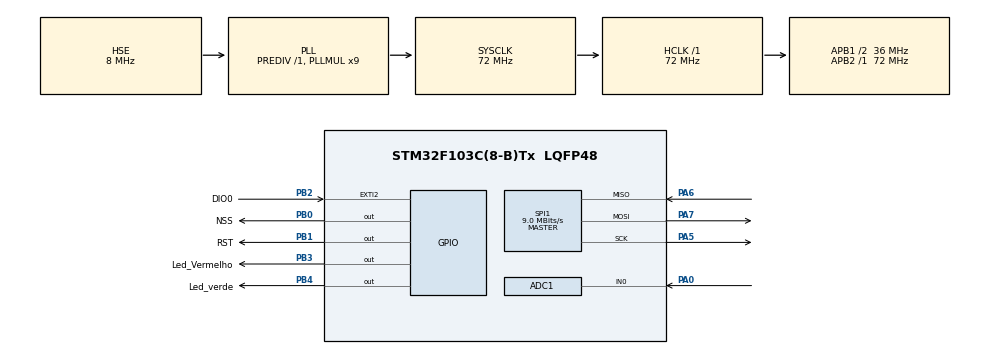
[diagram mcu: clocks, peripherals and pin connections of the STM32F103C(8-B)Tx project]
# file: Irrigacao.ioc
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ADC1.Channel-1\#ChannelRegularConversion=ADC_CHANNEL_0
ADC1.NbrOfConversionFlag=1
ADC1.Rank-1\#ChannelRegularConversion=1
ADC1.SamplingTime-1\#ChannelRegularConversion=ADC_SAMPLETIME_7CYCLES_5
ADC1.master=1
Mcu.Family=STM32F1
Mcu.Name=STM32F103C(8-B)Tx
Mcu.Package=LQFP48
NVIC.PriorityGroup=NVIC_PRIORITYGROUP_4
PA0-WKUP.Signal=ADCx_IN0
PA13.Mode=Serial_Wire
PA13.Signal=SYS_JTMS-SWDIO
PA14.Mode=Serial_Wire
PA14.Signal=SYS_JTCK-SWCLK
PA5.Mode=Full_Duplex_Master
PA5.Signal=SPI1_SCK
PA6.Mode=Full_Duplex_Master
PA6.Signal=SPI1_MISO
PA7.Mode=Full_Duplex_Master
PA7.Signal=SPI1_MOSI
PB0.GPIO_Label=NSS
PB0.PinState=GPIO_PIN_SET
PB0.Signal=GPIO_Output
PB1.GPIO_Label=RST
PB1.PinState=GPIO_PIN_SET
PB1.Signal=GPIO_Output
PB2.GPIO_Label=DIO0
PB2.Signal=GPXTI2
PB3.GPIO_Label=Led_Vermelho
PB3.PinState=GPIO_PIN_RESET
PB3.Signal=GPIO_Output
PB4.GPIO_Label=Led_verde
PB4.Signal=GPIO_Output
PB6.Signal=USART1_TX
PB7.Signal=USART1_RX
PC14-OSC32_IN.Mode=LSE-External-Oscillator
PC14-OSC32_IN.Signal=RCC_OSC32_IN
PC15-OSC32_OUT.Mode=LSE-External-Oscillator
PC15-OSC32_OUT.Signal=RCC_OSC32_OUT
PD0-OSC_IN.Mode=HSE-External-Oscillator
PD0-OSC_IN.Signal=RCC_OSC_IN
PD1-OSC_OUT.Mode=HSE-External-Oscillator
PD1-OSC_OUT.Signal=RCC_OSC_OUT
ProjectManager.HeapSize=0x200
ProjectManager.StackSize=0x400
ProjectManager.TargetToolchain=Makefile
RCC.ADCPresc=RCC_ADCPCLK2_DIV6
RCC.AHBFreq_Value=72000000
RCC.APB1CLKDivider=RCC_HCLK_DIV2
RCC.APB1Freq_Value=36000000
RCC.APB1TimFreq_Value=72000000
RCC.APB2Freq_Value=72000000
RCC.APB2TimFreq_Value=72000000
RCC.HCLKFreq_Value=72000000
RCC.PLLMUL=RCC_PLL_MUL9
RCC.PLLSourceVirtual=RCC_PLLSOURCE_HSE
RCC.RTCClockSelection=RCC_RTCCLKSOURCE_LSE
RCC.SYSCLKFreq_VALUE=72000000
RCC.SYSCLKSource=RCC_SYSCLKSOURCE_PLLCLK
RCC.USBFreq_Value=72000000
SH.ADCx_IN0.0=ADC1_IN0,IN0
SPI1.BaudRatePrescaler=SPI_BAUDRATEPRESCALER_8
SPI1.CalculateBaudRate=9.0 MBits/s
SPI1.Direction=SPI_DIRECTION_2LINES
SPI1.Mode=SPI_MODE_MASTER
SPI1.VirtualType=VM_MASTER
VP_RTC_VS_RTC_Activate.Mode=RTC_Enabled
VP_RTC_VS_RTC_Calendar.Mode=RTC_Calendar
board=custom

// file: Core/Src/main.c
/* USER CODE BEGIN Header */
/**
  ******************************************************************************
  * @file           : main.c
  * @brief          : Main program body
  ******************************************************************************
  * @attention
  *
  * Copyright (c) 2024 STMicroelectronics.
  * All rights reserved.
  *
  * This software is licensed under terms that can be found in the LICENSE file
  * in the root directory of this software component.
  * If no LICENSE file comes with this software, it is provided AS-IS.
  *
  ******************************************************************************
  */
/* USER CODE END Header */
#include "main.h"
#include "adc.h"
#include "rtc.h"
#include "spi.h"
#include "gpio.h"

/* USER CODE BEGIN Includes */

/* Inclusão de uma lib para utilizar LoRa */
#include "Lora.h"
/* Repositorio da Lib: https://github.com/SMotlaq/LoRa */

/* USER CODE END Includes */

/* USER CODE BEGIN PTD */
// Struct dos dados que serão enviados
typedef struct WriteLora{
  uint8_t id;
  uint8_t hum;
} myWriteLora;

/* USER CODE END PTD */

/* USER CODE BEGIN PV */

// Inicializando a lib
LoRa myLoRa;

uint16_t LoRa_stat;

//Identificação do sensor que vai ser passada
myWriteLora.id = 1;

//Variaveis que vão armazenar o tempo
unsigned long segundos, minutos;

// Variaveis que vão receber o tempo e a data do stm
RTC_DateTypeDef data;
RTC_TimeTypeDef tempo;
/* USER CODE END PV */

void SystemClock_Config(void);

int main(void)
{

  /* MCU Configuration--------------------------------------------------------*/

  /* Reset of all peripherals, Initializes the Flash interface and the Systick. */
  HAL_Init();

  /* Configure the system clock */
  SystemClock_Config();

  /* Initialize all configured peripherals */
  MX_GPIO_Init();
  MX_ADC1_Init();
  MX_SPI1_Init();
  MX_RTC_Init();
  /* USER CODE BEGIN 2 */

  //
  myLoRa = newLoRa();

  // Configuração dos pinos
  myLoRa.CS_port         = NSS_GPIO_Port;
  myLoRa.CS_pin          = NSS_Pin;
  myLoRa.reset_port      = RST_GPIO_Port;
  myLoRa.reset_pin       = RST_Pin;
  myLoRa.DIO0_port       = DIO0_GPIO_Port;
  myLoRa.DIO0_pin        = DIO0_Pin;
  myLoRa.hSPIx           = &hspi1;

  // Inicializo a função do adc
  HAL_ADC_Start(&hadc1);

  /* USER CODE END 2 */

  /* Infinite loop */
  while (1)
  {

    /* USER CODE BEGIN 3 */

    /* Função para receber os valores do RTC */
    HAL_RTC_GetDate(&hrtc, %data, RTC_FORMAT_BIN);
    HAL_RTC_GetTime(&hrtc, %tempo, RTC_FORMAT_BIN);

    minutos = tempo.minutes;
    segundos = tempo.seconds;
    marcador=0;

    // Lendo valores analógicos do sensor de humidade
    HAL_ADC_PoolForConversion(&hadc1, 100);
    myWriteLora.hum = HAL_ADC_GetValue(&hadc1);

    LoRa_stat = LoRa_init(&myLora);

    if(LoRa_stat==LORA_OK){
      if(marcador == 0||(marcador + 720) >= minutos){

        if(Lora_transmit(&myLora, (uint8_t*)&myWriteLora, 120, 100) == 1){
          HAL_GPIO_WritePin(GPIOB, LED_Verde_Pin, GPIO_PIN_SET);
          HAL_GPIO_WritePin(GPIOB, LED_Vermelho_Pin, GPIO_PIN_RESET);
        }else{
          HAL_GPIO_WritePin(GPIOB, LED_Verde_Pin, GPIO_PIN_RESET);
          HAL_GPIO_WritePin(GPIOB, LED_Vermelho_Pin, GPIO_PIN_SET);
        }
        marcador = minutos;
    }
    else{
      // Se der merda HAL_alguma coisa
      HAL_GPIO_WritePin(GPIOB, LED_Verde_Pin, GPIO_PIN_RESET);
      HAL_GPIO_WritePin(GPIOB, LED_Vermelho_Pin, GPIO_PIN_SET);
    }

  }
  /* USER CODE END 3 */
}

void SystemClock_Config(void)
{
  RCC_OscInitTypeDef RCC_OscInitStruct = {0};
  RCC_ClkInitTypeDef RCC_ClkInitStruct = {0};
  RCC_PeriphCLKInitTypeDef PeriphClkInit = {0};

  /** Initializes the RCC Oscillators according to the specified parameters
  * in the RCC_OscInitTypeDef structure.
  */
  RCC_OscInitStruct.OscillatorType = RCC_OSCILLATORTYPE_HSE|RCC_OSCILLATORTYPE_LSE;
  RCC_OscInitStruct.HSEState = RCC_HSE_ON;
  RCC_OscInitStruct.HSEPredivValue = RCC_HSE_PREDIV_DIV1;
  RCC_OscInitStruct.LSEState = RCC_LSE_ON;
  RCC_OscInitStruct.HSIState = RCC_HSI_ON;
  RCC_OscInitStruct.PLL.PLLState = RCC_PLL_ON;
  RCC_OscInitStruct.PLL.PLLSource = RCC_PLLSOURCE_HSE;
  RCC_OscInitStruct.PLL.PLLMUL = RCC_PLL_MUL9;
  if (HAL_RCC_OscConfig(&RCC_OscInitStruct) != HAL_OK)
  {
    Error_Handler();
  }

  /** Initializes the CPU, AHB and APB buses clocks
  */
  RCC_ClkInitStruct.ClockType = RCC_CLOCKTYPE_HCLK|RCC_CLOCKTYPE_SYSCLK
                              |RCC_CLOCKTYPE_PCLK1|RCC_CLOCKTYPE_PCLK2;
  RCC_ClkInitStruct.SYSCLKSource = RCC_SYSCLKSOURCE_PLLCLK;
  RCC_ClkInitStruct.AHBCLKDivider = RCC_SYSCLK_DIV1;
  RCC_ClkInitStruct.APB1CLKDivider = RCC_HCLK_DIV2;
  RCC_ClkInitStruct.APB2CLKDivider = RCC_HCLK_DIV1;

  if (HAL_RCC_ClockConfig(&RCC_ClkInitStruct, FLASH_LATENCY_2) != HAL_OK)
  {
    Error_Handler();
  }
  PeriphClkInit.PeriphClockSelection = RCC_PERIPHCLK_RTC|RCC_PERIPHCLK_ADC;
  PeriphClkInit.RTCClockSelection = RCC_RTCCLKSOURCE_LSE;
  PeriphClkInit.AdcClockSelection = RCC_ADCPCLK2_DIV6;
  if (HAL_RCCEx_PeriphCLKConfig(&PeriphClkInit) != HAL_OK)
  {
    Error_Handler();
  }
}

void Error_Handler(void)
{
  __disable_irq();
  while (1)
  {
  }
}
